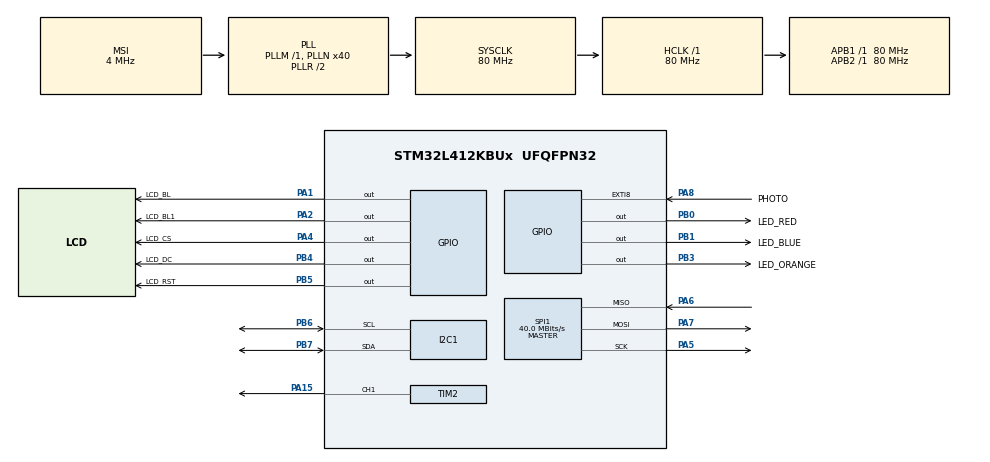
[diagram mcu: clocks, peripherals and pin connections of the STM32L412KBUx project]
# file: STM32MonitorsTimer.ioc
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FREERTOS.Tasks01=defaultTask,24,128,StartDefaultTask,Default,NULL,Dynamic,NULL,NULL;DisplayTask,24,256,StartDisplayTask,Default,NULL,Dynamic,NULL,NULL;TaskHDC,40,128,StartTaskHDC,Default,NULL,Dynamic,NULL,NULL
FREERTOS.configUSE_NEWLIB_REENTRANT=1
I2C1.Timing=0x10909CEC
Mcu.Family=STM32L4
Mcu.Name=STM32L412KBUx
Mcu.Package=UFQFPN32
NVIC.EXTI9_5_IRQn=true\:5\:0\:false\:false\:true\:true\:true\:true\:true
NVIC.PriorityGroup=NVIC_PRIORITYGROUP_4
NVIC.TIM1_UP_TIM16_IRQn=true\:5\:0\:false\:false\:true\:false\:false\:true\:true
NVIC.TimeBase=TIM1_UP_TIM16_IRQn
NVIC.TimeBaseIP=TIM1
PA1.GPIO_Label=LCD_BL
PA1.Signal=GPIO_Output
PA13\ (JTMS/SWDIO).Mode=Serial_Wire
PA13\ (JTMS/SWDIO).Signal=SYS_JTMS-SWDIO
PA14\ (JTCK/SWCLK).Mode=Serial_Wire
PA14\ (JTCK/SWCLK).Signal=SYS_JTCK-SWCLK
PA15\ (JTDI).Signal=S_TIM2_CH1
PA2.GPIO_Label=LCD_BL1
PA2.Signal=GPIO_Output
PA4.GPIO_Label=LCD_CS
PA4.Signal=GPIO_Output
PA5.Mode=Full_Duplex_Master
PA5.Signal=SPI1_SCK
PA6.Mode=Full_Duplex_Master
PA6.Signal=SPI1_MISO
PA7.Mode=Full_Duplex_Master
PA7.Signal=SPI1_MOSI
PA8.GPIO_Label=PHOTO
PA8.GPIO_ModeDefaultEXTI=GPIO_MODE_IT_FALLING
PA8.GPIO_PuPd=GPIO_PULLUP
PA8.Signal=GPXTI8
PB0.GPIO_Label=LED_RED
PB0.Signal=GPIO_Output
PB1.GPIO_Label=LED_BLUE
PB1.Signal=GPIO_Output
PB3\ (JTDO/TRACESWO).GPIO_Label=LED_ORANGE
PB3\ (JTDO/TRACESWO).Signal=GPIO_Output
PB4\ (NJTRST).GPIO_Label=LCD_DC
PB4\ (NJTRST).Signal=GPIO_Output
PB5.GPIO_Label=LCD_RST
PB5.Signal=GPIO_Output
PB6.Mode=I2C
PB6.Signal=I2C1_SCL
PB7.Mode=I2C
PB7.Signal=I2C1_SDA
PC14-OSC32_IN\ (PC14).Mode=LSE-External-Oscillator
PC14-OSC32_IN\ (PC14).Signal=RCC_OSC32_IN
PC15-OSC32_OUT\ (PC15).Mode=LSE-External-Oscillator
PC15-OSC32_OUT\ (PC15).Signal=RCC_OSC32_OUT
ProjectManager.HeapSize=0x200
ProjectManager.StackSize=0x400
ProjectManager.TargetToolchain=STM32CubeIDE
RCC.ADCFreq_Value=80000000
RCC.AHBFreq_Value=80000000
RCC.APB1Freq_Value=80000000
RCC.APB1TimFreq_Value=80000000
RCC.APB2Freq_Value=80000000
RCC.APB2TimFreq_Value=80000000
RCC.CortexFreq_Value=80000000
RCC.HCLKFreq_Value=80000000
RCC.HSE_VALUE=8000000
RCC.HSI48_VALUE=48000000
RCC.HSI_VALUE=16000000
RCC.MSI_VALUE=4000000
RCC.PLLN=40
RCC.SYSCLKFreq_VALUE=80000000
RCC.SYSCLKSource=RCC_SYSCLKSOURCE_PLLCLK
RCC.USBFreq_Value=4000000
RCC.VCOOutputFreq_Value=160000000
RTC.Date=4
RTC.Month=RTC_MONTH_NOVEMBER
RTC.WeekDay=RTC_WEEKDAY_WEDNESDAY
RTC.Year=23
SH.S_TIM2_CH1.0=TIM2_CH1,PWM Generation1 CH1
SPI1.CalculateBaudRate=40.0 MBits/s
SPI1.DataSize=SPI_DATASIZE_8BIT
SPI1.Direction=SPI_DIRECTION_2LINES
SPI1.Mode=SPI_MODE_MASTER
SPI1.VirtualType=VM_MASTER
TIM16.Period=10
TIM16.Prescaler=7999
TIM2.Channel-PWM\ Generation1\ CH1=TIM_CHANNEL_1
VP_FREERTOS_VS_CMSIS_V2.Mode=CMSIS_V2
VP_RTC_VS_RTC_Activate.Mode=RTC_Enabled
VP_RTC_VS_RTC_Calendar.Mode=RTC_Calendar
VP_RTC_VS_RTC_WakeUp_intern.Mode=WakeUp
VP_SYS_VS_tim1.Mode=TIM1
VP_TIM16_VS_ClockSourceINT.Mode=Enable_Timer
board=custom

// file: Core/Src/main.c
/* USER CODE BEGIN Header */
/**
  ******************************************************************************
  * @file           : main.c
  * @brief          : Main program body
  ******************************************************************************
  * @attention
  *
  * Copyright (c) 2023 STMicroelectronics.
  * All rights reserved.
  *
  * This software is licensed under terms that can be found in the LICENSE file
  * in the root directory of this software component.
  * If no LICENSE file comes with this software, it is provided AS-IS.
  *
  ******************************************************************************
  */
/* USER CODE END Header */
#include "main.h"
#include "cmsis_os.h"

/* USER CODE BEGIN Includes */
#include <string.h>
#include <stdint.h>
#include <SEGGER_RTT.h>

#include "st7735.h"
#include "fonts.h"

#include "hdc1080.h"
/* USER CODE END Includes */

I2C_HandleTypeDef hi2c1;

RTC_HandleTypeDef hrtc;

SPI_HandleTypeDef hspi1;

TIM_HandleTypeDef htim2;
TIM_HandleTypeDef htim16;

/* Definitions for defaultTask */
osThreadId_t defaultTaskHandle;
const osThreadAttr_t defaultTask_attributes = {
  .name = "defaultTask",
  .stack_size = 128 * 4,
  .priority = (osPriority_t) osPriorityNormal,
};
/* Definitions for DisplayTask */
osThreadId_t DisplayTaskHandle;
const osThreadAttr_t DisplayTask_attributes = {
  .name = "DisplayTask",
  .stack_size = 256 * 4,
  .priority = (osPriority_t) osPriorityNormal,
};
/* Definitions for TaskHDC */
osThreadId_t TaskHDCHandle;
const osThreadAttr_t TaskHDC_attributes = {
  .name = "TaskHDC",
  .stack_size = 128 * 4,
  .priority = (osPriority_t) osPriorityHigh,
};
/* USER CODE BEGIN PV */

//HDC1080
volatile float temp;
volatile uint8_t humi;

struct TempHum tempHum;

volatile uint8_t read_data[2];
volatile uint16_t reg=0;

//RTT
static uint8_t logBuffer[32];

//RTC
RTC_TimeTypeDef sTime = {0};
RTC_TimeTypeDef photoTime = {0};
RTC_TimeTypeDef diffTime = {0};
RTC_DateTypeDef DateToUpdate = {0};

//
uint8_t photoCounter;
/* USER CODE END PV */

void SystemClock_Config(void);
static void MX_GPIO_Init(void);
static void MX_RTC_Init(void);
static void MX_I2C1_Init(void);
static void MX_SPI1_Init(void);
static void MX_TIM2_Init(void);
static void MX_TIM16_Init(void);
void StartDefaultTask(void *argument);
void StartDisplayTask(void *argument);
void StartTaskHDC(void *argument);

int main(void)
{

  /* MCU Configuration--------------------------------------------------------*/

  /* Reset of all peripherals, Initializes the Flash interface and the Systick. */
  HAL_Init();

  /* Configure the system clock */
  SystemClock_Config();

  /* Initialize all configured peripherals */
  MX_GPIO_Init();
  MX_RTC_Init();
  MX_I2C1_Init();
  MX_SPI1_Init();
  MX_TIM2_Init();
  MX_TIM16_Init();
  /* USER CODE BEGIN 2 */
  SEGGER_RTT_Init();

    /* add channel 1: log */
  SEGGER_RTT_ConfigUpBuffer(1, "Log", logBuffer, sizeof(logBuffer), SEGGER_RTT_MODE_NO_BLOCK_TRIM);
  SEGGER_RTT_printf(0, "Hello, RTT!");
  hdc1080_init(&hi2c1,Temperature_Resolution_11_bit,Humidity_Resolution_8_bit);
  HAL_GPIO_WritePin(LCD_BL_GPIO_Port, LCD_BL_Pin, GPIO_PIN_SET);
  ST7735_Init();
  //uint8_t Buffer[25] = {0};
  for(int i =1; i<128; i++)
      {
	  uint8_t  ret = HAL_I2C_IsDeviceReady(&hi2c1, (uint16_t)(i<<1), 3, 5);
          if (ret != HAL_OK) /* No ACK Received At That Address */
          {
        	  sprintf(logBuffer, "I2C OK on address - %d \n\r", i);
        	  SEGGER_RTT_printf(0, logBuffer);
          }
          else if(ret == HAL_OK)
          {
        	  sprintf(logBuffer, "I2C not OK on address - %d \n\r", i);
        	  SEGGER_RTT_printf(0, logBuffer);
          }
      }
  // Check border
  	      ST7735_FillScreen(ST7735_BLACK);

  	      for(int x = 0; x < ST7735_WIDTH; x++) {
  	          ST7735_DrawPixel(x, 0, ST7735_RED);
  	          ST7735_DrawPixel(x, ST7735_HEIGHT-1, ST7735_RED);
  	      }

  	      for(int y = 0; y < ST7735_HEIGHT; y++) {
  	          ST7735_DrawPixel(0, y, ST7735_RED);
  	          ST7735_DrawPixel(ST7735_WIDTH-1, y, ST7735_RED);
  	      }

  	      HAL_Delay(100);

  /* USER CODE END 2 */

  /* Init scheduler */
  osKernelInitialize();

  /* Create the thread(s) */
  /* creation of defaultTask */
  defaultTaskHandle = osThreadNew(StartDefaultTask, NULL, &defaultTask_attributes);

  /* creation of DisplayTask */
  DisplayTaskHandle = osThreadNew(StartDisplayTask, NULL, &DisplayTask_attributes);

  /* creation of TaskHDC */
  TaskHDCHandle = osThreadNew(StartTaskHDC, NULL, &TaskHDC_attributes);

  /* Start scheduler */
  osKernelStart();

  /* We should never get here as control is now taken by the scheduler */
  /* Infinite loop */
  /* USER CODE BEGIN WHILE */
  //HAL_TIM_Base_Start_IT(&htim16);
  while (1)
  {
    /* USER CODE END WHILE */

  }
}

void SystemClock_Config(void)
{
  RCC_OscInitTypeDef RCC_OscInitStruct = {0};
  RCC_ClkInitTypeDef RCC_ClkInitStruct = {0};

  /** Configure the main internal regulator output voltage
  */
  if (HAL_PWREx_ControlVoltageScaling(PWR_REGULATOR_VOLTAGE_SCALE1) != HAL_OK)
  {
    Error_Handler();
  }

  /** Configure LSE Drive Capability
  */
  HAL_PWR_EnableBkUpAccess();
  __HAL_RCC_LSEDRIVE_CONFIG(RCC_LSEDRIVE_LOW);

  /** Initializes the RCC Oscillators according to the specified parameters
  * in the RCC_OscInitTypeDef structure.
  */
  RCC_OscInitStruct.OscillatorType = RCC_OSCILLATORTYPE_LSI|RCC_OSCILLATORTYPE_LSE
                              |RCC_OSCILLATORTYPE_MSI;
  RCC_OscInitStruct.LSEState = RCC_LSE_ON;
  RCC_OscInitStruct.LSIState = RCC_LSI_ON;
  RCC_OscInitStruct.MSIState = RCC_MSI_ON;
  RCC_OscInitStruct.MSICalibrationValue = 0;
  RCC_OscInitStruct.MSIClockRange = RCC_MSIRANGE_6;
  RCC_OscInitStruct.PLL.PLLState = RCC_PLL_ON;
  RCC_OscInitStruct.PLL.PLLSource = RCC_PLLSOURCE_MSI;
  RCC_OscInitStruct.PLL.PLLM = 1;
  RCC_OscInitStruct.PLL.PLLN = 40;
  RCC_OscInitStruct.PLL.PLLQ = RCC_PLLQ_DIV2;
  RCC_OscInitStruct.PLL.PLLR = RCC_PLLR_DIV2;
  if (HAL_RCC_OscConfig(&RCC_OscInitStruct) != HAL_OK)
  {
    Error_Handler();
  }

  /** Initializes the CPU, AHB and APB buses clocks
  */
  RCC_ClkInitStruct.ClockType = RCC_CLOCKTYPE_HCLK|RCC_CLOCKTYPE_SYSCLK
                              |RCC_CLOCKTYPE_PCLK1|RCC_CLOCKTYPE_PCLK2;
  RCC_ClkInitStruct.SYSCLKSource = RCC_SYSCLKSOURCE_PLLCLK;
  RCC_ClkInitStruct.AHBCLKDivider = RCC_SYSCLK_DIV1;
  RCC_ClkInitStruct.APB1CLKDivider = RCC_HCLK_DIV1;
  RCC_ClkInitStruct.APB2CLKDivider = RCC_HCLK_DIV1;

  if (HAL_RCC_ClockConfig(&RCC_ClkInitStruct, FLASH_LATENCY_4) != HAL_OK)
  {
    Error_Handler();
  }

  /** Enable MSI Auto calibration
  */
  HAL_RCCEx_EnableMSIPLLMode();
}

static void MX_I2C1_Init(void)
{

  hi2c1.Instance = I2C1;
  hi2c1.Init.Timing = 0x10909CEC;
  hi2c1.Init.OwnAddress1 = 0;
  hi2c1.Init.AddressingMode = I2C_ADDRESSINGMODE_7BIT;
  hi2c1.Init.DualAddressMode = I2C_DUALADDRESS_DISABLE;
  hi2c1.Init.OwnAddress2 = 0;
  hi2c1.Init.OwnAddress2Masks = I2C_OA2_NOMASK;
  hi2c1.Init.GeneralCallMode = I2C_GENERALCALL_DISABLE;
  hi2c1.Init.NoStretchMode = I2C_NOSTRETCH_DISABLE;
  if (HAL_I2C_Init(&hi2c1) != HAL_OK)
  {
    Error_Handler();
  }

  /** Configure Analogue filter
  */
  if (HAL_I2CEx_ConfigAnalogFilter(&hi2c1, I2C_ANALOGFILTER_ENABLE) != HAL_OK)
  {
    Error_Handler();
  }

  /** Configure Digital filter
  */
  if (HAL_I2CEx_ConfigDigitalFilter(&hi2c1, 0) != HAL_OK)
  {
    Error_Handler();
  }

}

static void MX_RTC_Init(void)
{

  RTC_TimeTypeDef sTime = {0};
  RTC_DateTypeDef sDate = {0};

  /** Initialize RTC Only
  */
  hrtc.Instance = RTC;
  hrtc.Init.HourFormat = RTC_HOURFORMAT_24;
  hrtc.Init.AsynchPrediv = 127;
  hrtc.Init.SynchPrediv = 255;
  hrtc.Init.OutPut = RTC_OUTPUT_DISABLE;
  hrtc.Init.OutPutRemap = RTC_OUTPUT_REMAP_NONE;
  hrtc.Init.OutPutPolarity = RTC_OUTPUT_POLARITY_HIGH;
  hrtc.Init.OutPutType = RTC_OUTPUT_TYPE_OPENDRAIN;
  hrtc.Init.OutPutPullUp = RTC_OUTPUT_PULLUP_NONE;
  if (HAL_RTC_Init(&hrtc) != HAL_OK)
  {
    Error_Handler();
  }

  /** Initialize RTC and set the Time and Date
  */
  sTime.Hours = 0x0;
  sTime.Minutes = 0x0;
  sTime.Seconds = 0x0;
  sTime.DayLightSaving = RTC_DAYLIGHTSAVING_NONE;
  sTime.StoreOperation = RTC_STOREOPERATION_RESET;
  if (HAL_RTC_SetTime(&hrtc, &sTime, RTC_FORMAT_BCD) != HAL_OK)
  {
    Error_Handler();
  }
  sDate.WeekDay = RTC_WEEKDAY_WEDNESDAY;
  sDate.Month = RTC_MONTH_NOVEMBER;
  sDate.Date = 0x4;
  sDate.Year = 0x23;

  if (HAL_RTC_SetDate(&hrtc, &sDate, RTC_FORMAT_BCD) != HAL_OK)
  {
    Error_Handler();
  }

  /** Enable the WakeUp
  */
  if (HAL_RTCEx_SetWakeUpTimer(&hrtc, 0, RTC_WAKEUPCLOCK_RTCCLK_DIV16) != HAL_OK)
  {
    Error_Handler();
  }

}

static void MX_SPI1_Init(void)
{

  /* SPI1 parameter configuration*/
  hspi1.Instance = SPI1;
  hspi1.Init.Mode = SPI_MODE_MASTER;
  hspi1.Init.Direction = SPI_DIRECTION_2LINES;
  hspi1.Init.DataSize = SPI_DATASIZE_8BIT;
  hspi1.Init.CLKPolarity = SPI_POLARITY_LOW;
  hspi1.Init.CLKPhase = SPI_PHASE_1EDGE;
  hspi1.Init.NSS = SPI_NSS_SOFT;
  hspi1.Init.BaudRatePrescaler = SPI_BAUDRATEPRESCALER_2;
  hspi1.Init.FirstBit = SPI_FIRSTBIT_MSB;
  hspi1.Init.TIMode = SPI_TIMODE_DISABLE;
  hspi1.Init.CRCCalculation = SPI_CRCCALCULATION_DISABLE;
  hspi1.Init.CRCPolynomial = 7;
  hspi1.Init.CRCLength = SPI_CRC_LENGTH_DATASIZE;
  hspi1.Init.NSSPMode = SPI_NSS_PULSE_ENABLE;
  if (HAL_SPI_Init(&hspi1) != HAL_OK)
  {
    Error_Handler();
  }

}

static void MX_TIM2_Init(void)
{

  TIM_MasterConfigTypeDef sMasterConfig = {0};
  TIM_OC_InitTypeDef sConfigOC = {0};

  htim2.Instance = TIM2;
  htim2.Init.Prescaler = 0;
  htim2.Init.CounterMode = TIM_COUNTERMODE_UP;
  htim2.Init.Period = 4294967295;
  htim2.Init.ClockDivision = TIM_CLOCKDIVISION_DIV1;
  htim2.Init.AutoReloadPreload = TIM_AUTORELOAD_PRELOAD_DISABLE;
  if (HAL_TIM_PWM_Init(&htim2) != HAL_OK)
  {
    Error_Handler();
  }
  sMasterConfig.MasterOutputTrigger = TIM_TRGO_RESET;
  sMasterConfig.MasterSlaveMode = TIM_MASTERSLAVEMODE_DISABLE;
  if (HAL_TIMEx_MasterConfigSynchronization(&htim2, &sMasterConfig) != HAL_OK)
  {
    Error_Handler();
  }
  sConfigOC.OCMode = TIM_OCMODE_PWM1;
  sConfigOC.Pulse = 0;
  sConfigOC.OCPolarity = TIM_OCPOLARITY_HIGH;
  sConfigOC.OCFastMode = TIM_OCFAST_DISABLE;
  if (HAL_TIM_PWM_ConfigChannel(&htim2, &sConfigOC, TIM_CHANNEL_1) != HAL_OK)
  {
    Error_Handler();
  }
  HAL_TIM_MspPostInit(&htim2);

}

static void MX_TIM16_Init(void)
{

  htim16.Instance = TIM16;
  htim16.Init.Prescaler = 7999;
  htim16.Init.CounterMode = TIM_COUNTERMODE_UP;
  htim16.Init.Period = 10;
  htim16.Init.ClockDivision = TIM_CLOCKDIVISION_DIV1;
  htim16.Init.RepetitionCounter = 0;
  htim16.Init.AutoReloadPreload = TIM_AUTORELOAD_PRELOAD_DISABLE;
  if (HAL_TIM_Base_Init(&htim16) != HAL_OK)
  {
    Error_Handler();
  }

}

static void MX_GPIO_Init(void)
{
  GPIO_InitTypeDef GPIO_InitStruct = {0};

  /* GPIO Ports Clock Enable */
  __HAL_RCC_GPIOC_CLK_ENABLE();
  __HAL_RCC_GPIOA_CLK_ENABLE();
  __HAL_RCC_GPIOB_CLK_ENABLE();

  /*Configure GPIO pin Output Level */
  HAL_GPIO_WritePin(GPIOA, LCD_BL_Pin|LCD_BL1_Pin|LCD_CS_Pin, GPIO_PIN_RESET);

  /*Configure GPIO pin Output Level */
  HAL_GPIO_WritePin(GPIOB, LED_RED_Pin|LED_BLUE_Pin|LED_ORANGE_Pin|LCD_DC_Pin
                          |LCD_RST_Pin, GPIO_PIN_RESET);

  /*Configure GPIO pins : LCD_BL_Pin LCD_BL1_Pin LCD_CS_Pin */
  GPIO_InitStruct.Pin = LCD_BL_Pin|LCD_BL1_Pin|LCD_CS_Pin;
  GPIO_InitStruct.Mode = GPIO_MODE_OUTPUT_PP;
  GPIO_InitStruct.Pull = GPIO_NOPULL;
  GPIO_InitStruct.Speed = GPIO_SPEED_FREQ_LOW;
  HAL_GPIO_Init(GPIOA, &GPIO_InitStruct);

  /*Configure GPIO pins : LED_RED_Pin LED_BLUE_Pin LED_ORANGE_Pin LCD_DC_Pin
                           LCD_RST_Pin */
  GPIO_InitStruct.Pin = LED_RED_Pin|LED_BLUE_Pin|LED_ORANGE_Pin|LCD_DC_Pin
                          |LCD_RST_Pin;
  GPIO_InitStruct.Mode = GPIO_MODE_OUTPUT_PP;
  GPIO_InitStruct.Pull = GPIO_NOPULL;
  GPIO_InitStruct.Speed = GPIO_SPEED_FREQ_LOW;
  HAL_GPIO_Init(GPIOB, &GPIO_InitStruct);

  /*Configure GPIO pin : PHOTO_Pin */
  GPIO_InitStruct.Pin = PHOTO_Pin;
  GPIO_InitStruct.Mode = GPIO_MODE_IT_FALLING;
  GPIO_InitStruct.Pull = GPIO_PULLUP;
  HAL_GPIO_Init(PHOTO_GPIO_Port, &GPIO_InitStruct);

  /* EXTI interrupt init*/
  HAL_NVIC_SetPriority(EXTI9_5_IRQn, 5, 0);
  HAL_NVIC_EnableIRQ(EXTI9_5_IRQn);

}

/* USER CODE BEGIN 4 */
void HAL_GPIO_EXTI_Callback(uint16_t GPIO_Pin)
{
	if(GPIO_Pin == PHOTO_Pin)
	{
		//HAL_TIM_Base_Start_IT(&htim16);
		HAL_GPIO_TogglePin(LED_BLUE_GPIO_Port, LED_BLUE_Pin);

		HAL_RTC_GetTime(&hrtc, &photoTime, RTC_FORMAT_BIN);
		HAL_RTC_GetDate(&hrtc, &DateToUpdate, RTC_FORMAT_BIN);
	}
}
/* USER CODE END 4 */

void StartDefaultTask(void *argument)
{
  /* USER CODE BEGIN 5 */
  /* Infinite loop */
  for(;;)
  {

	  osDelay(500);
  }
  /* USER CODE END 5 */
}

void StartDisplayTask(void *argument)
{
  /* USER CODE BEGIN StartDisplayTask */
  /* Infinite loop */
	HAL_RTC_GetTime(&hrtc, &sTime, RTC_FORMAT_BIN);
	HAL_RTC_GetDate(&hrtc, &DateToUpdate, RTC_FORMAT_BIN);

	photoTime.Hours = sTime.Hours;
	photoTime.Minutes = sTime.Minutes;
	photoTime.Seconds = sTime.Seconds;

	ST7735_FillScreen(ST7735_BLACK);

	hdc1080_ask_temp_hum(&hi2c1);
	osDelay(15);
	tempHum =hdc1080_receive_temp_hum(&hi2c1);
	uint8_t firstInit = 1;
	//tempHum = hdc1080_get_temp_hum(&hi2c1);
  for(;;)
  {
	  char buffer[30];
	  memset(buffer, 0, sizeof(buffer));
	  sprintf(buffer, "Humi:%d%% \n\r", tempHum.Humidity);
	  SEGGER_RTT_printf(0, buffer);
	  sprintf(buffer, "Humi:%d%%", tempHum.Humidity);
	  ST7735_WriteString(5, 8, buffer, Font_11x18, ST7735_WHITE, ST7735_BLACK);
	  memset(buffer, 0, sizeof(buffer));

	  sprintf(buffer, "Temp:%3.2fC\n\r", tempHum.Temperature);
	  SEGGER_RTT_printf(0, buffer);
	  sprintf(buffer, "Temp:%3.2f C", tempHum.Temperature);
	  ST7735_WriteString(5, 35, buffer, Font_11x18, ST7735_WHITE, ST7735_BLACK);

	  HAL_RTC_GetTime(&hrtc, &sTime, RTC_FORMAT_BIN);
	  snprintf(buffer, 63, "Time:%02d:%02d:%02d ", sTime.Hours, sTime.Minutes, sTime.Seconds);
	  SEGGER_RTT_printf(0, buffer);
	  ST7735_WriteString(5, 90, buffer, Font_11x18, ST7735_WHITE, ST7735_BLACK);
	  HAL_RTC_GetDate(&hrtc, &DateToUpdate, RTC_FORMAT_BIN);
	  snprintf(buffer, 63, "Date %d-%d-20%d\n", DateToUpdate.Date, DateToUpdate.Month, DateToUpdate.Year);
	  SEGGER_RTT_printf(0, buffer);

	  //
	  //Calculate difference
	  //

	  //Hours
	  if(firstInit)
	  {
		  diffTime.Hours = 0;
		  diffTime.Minutes = 0;
		  diffTime.Seconds = sTime.Seconds;
		  firstInit = 0;
	  }
	  else
	  {
	  	  if((photoTime.Hours > sTime.Hours) && photoTime.Hours != 0)
	  	  { diffTime.Hours = 60 - photoTime.Hours; }
	  	  else
	  	  { diffTime.Hours = sTime.Hours - photoTime.Hours; }

	  	  //Minutes
	  	  if((photoTime.Minutes > sTime.Minutes) && photoTime.Minutes != 0)
	  	  { diffTime.Minutes = 60 - photoTime.Minutes; }
	  	  else
	  	  { diffTime.Minutes = sTime.Minutes - photoTime.Minutes; }

	  	  //Seconds
	  	  if((photoTime.Seconds > sTime.Seconds) && photoTime.Seconds != 0)
	  	  { diffTime.Seconds = 60 - photoTime.Seconds; }
	  	  else
	  	  { diffTime.Seconds = sTime.Seconds - photoTime.Seconds; }
	  }

	  snprintf(buffer, 63, "Diff:%02d:%02d:%02d ", diffTime.Hours, diffTime.Minutes, diffTime.Seconds);
	  SEGGER_RTT_printf(0, buffer);
	  ST7735_WriteString(5, 63, buffer, Font_11x18, ST7735_WHITE, ST7735_BLACK);

	  osDelay(1000);
  }
  /* USER CODE END StartDisplayTask */
}

void StartTaskHDC(void *argument)
{
  /* USER CODE BEGIN StartTaskHDC */
  /* Infinite loop */
  HAL_StatusTypeDef err_c;
  for(;;)
  {
	  err_c = hdc1080_ask_temp_hum(&hi2c1);
	  if(err_c == HAL_OK)
	  {
		  osDelay(15);
		  taskENTER_CRITICAL();
		  {
			  tempHum =hdc1080_receive_temp_hum(&hi2c1);
		  }
		  taskEXIT_CRITICAL();
		  //tempHum =hdc1080_receive_temp_hum(&hi2c1);
		  HAL_GPIO_WritePin(LED_RED_GPIO_Port, LED_RED_Pin, GPIO_PIN_RESET);
		  HAL_GPIO_TogglePin(LED_RED_GPIO_Port, LED_ORANGE_Pin);
	  }
	  else
	  {
		  HAL_GPIO_WritePin(LED_RED_GPIO_Port, LED_RED_Pin, GPIO_PIN_SET);
		  SEGGER_RTT_printf(0, (char*)err_c);
	  }
	  osDelay(1000);
	  //tempHum = hdc1080_get_temp_hum(&hi2c1);
	  //hdc1080_start_measurement(&hi2c1,(float*)&temp,(uint8_t*)&humi);
  }
  /* USER CODE END StartTaskHDC */
}

void HAL_TIM_PeriodElapsedCallback(TIM_HandleTypeDef *htim)
{
  if (htim->Instance == TIM1) {
    HAL_IncTick();
  }
  /* USER CODE BEGIN Callback 1 */
  else if (htim->Instance == htim16.Instance)
  {

  }
  /* USER CODE END Callback 1 */
}

void Error_Handler(void)
{
  __disable_irq();
  while (1)
  {
  }
}
